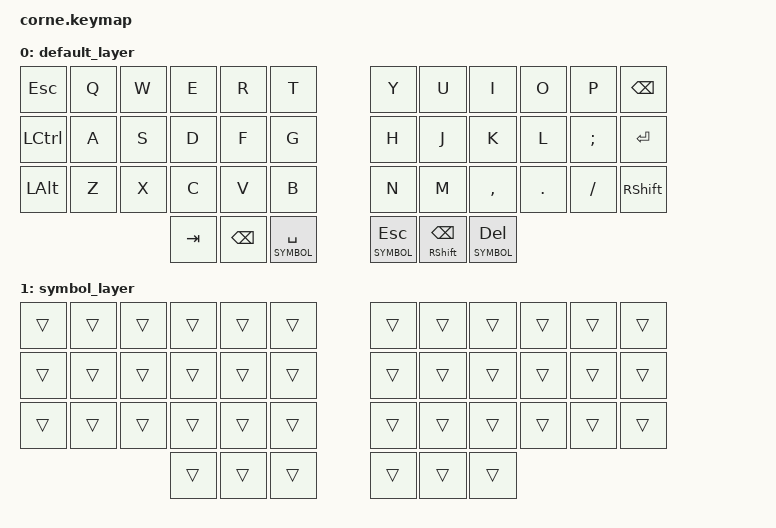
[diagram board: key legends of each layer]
/*
 * Copyright (c) 2020 The ZMK Contributors
 *
 * SPDX-License-Identifier: MIT
 */

#include <behaviors.dtsi>
#include <dt-bindings/zmk/keys.h>
#include <dt-bindings/zmk/bt.h>

#include <dt-bindings/zmk/ext_power.h>

#define DEFAULT 0
#define SYMBOL 1

&lt {
	quick_tap_ms = <220>;
};

&mt {
    flavor = "tap-preferred";
    tapping-term-ms = <220>;
    retro-tap;
    quick-tap-ms = <50>;
};

/ {
    macros {
    };
};

// Keymaps!
/ {
    behaviors {
        tdhrm: tdhrm {
            compatible = "zmk,behavior-tap-dance";
            label = "TDHRM";
            #binding-cells = <0>;
            bindings = <&kp EQUAL>, <&tog 1>;
        };
    };

    combos {
        compatible = "zmk,combos";

        Escape {
            bindings = <&kp ESCAPE>;
            key-positions = <13 14>;
        };
    };

	keymap {
                compatible = "zmk,keymap";
                default_layer {
// --------------------------------------------------------------
//| LGUI/] |  Q  |  W  |  E  |  R  |  T  |   |  Y  |  U   |  I  |  O  |  P  | RGUI/[ | 
//| CTRL/` |  A  |  S  |  D  |  F  |  G  |   |  H  |  J   |  K  |  L  |  ;  | CTRL/' |
//| LALT/\ |  Z  |  X  |  C  |  V  |  B  |   |  N  |  M   |  ,  |  .  |  /  | RALT/- |
//                             | RSE | SPC | LWR |   | LWR | BKSP | RSE |
                        bindings = <
  &kp ESCAPE	&kp Q &kp W &kp E &kp R &kp T               &kp Y  &kp U  &kp I     &kp O   &kp P    &kp BACKSPACE
  &kp LCTRL &kp A &kp S &kp D &kp F &kp G               &kp H  &kp J  &kp K     &kp L   &kp SEMI &kp ENTER
  &kp LALT  &kp Z &kp X &kp C &kp V &kp B               &kp N  &kp M  &kp COMMA &kp DOT &kp FSLH &kp RSHIFT
        &kp TAB &kp BACKSPACE &lt SYMBOL SPACE              &lt  SYMBOL ESC &mt RSHFT BSPC &lt SYMBOL DEL
                        >;
                };

                symbol_layer {
                        bindings = <
&trans &trans &trans &trans &trans &trans		&trans &trans &trans &trans &trans &trans
&trans &trans &trans &trans &trans &trans		&trans &trans &trans &trans &trans &trans
&trans &trans &trans &trans &trans &trans		&trans &trans &trans &trans &trans &trans
						&trans &trans &trans 	&trans &trans &trans
                        >;
                };
        };
};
